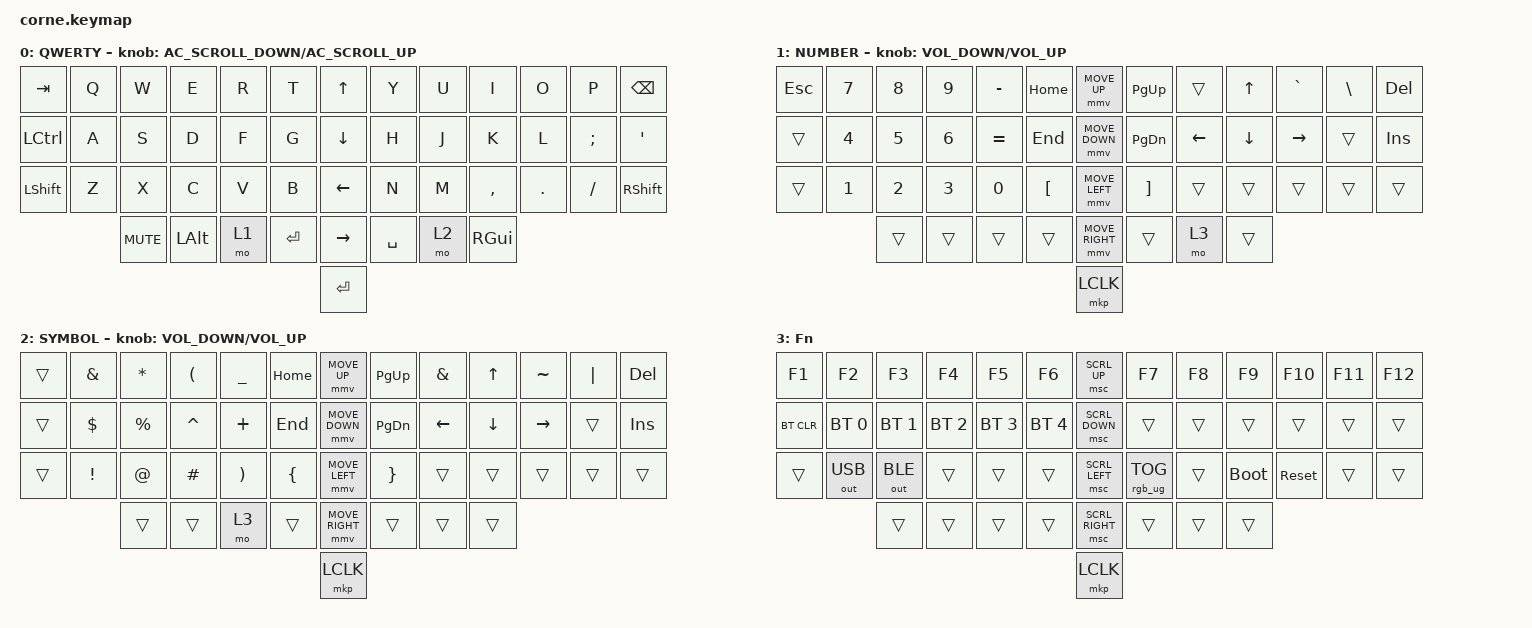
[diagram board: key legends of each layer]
#include <behaviors.dtsi>
#include <dt-bindings/zmk/bt.h>
#include <dt-bindings/zmk/keys.h>
#include <dt-bindings/zmk/mouse.h>
#include <dt-bindings/zmk/outputs.h>
#include <dt-bindings/zmk/rgb.h>

#define ZMK_MOUSE_DEFAULT_MOVE_VAL 2500  // 600
#define ZMK_MOUSE_DEFAULT_SCRL_VAL 20    // 10
#define U_MS_U &mmv MOVE_UP
#define U_MS_D &mmv MOVE_DOWN
#define U_MS_L &mmv MOVE_LEFT
#define U_MS_R &mmv MOVE_RIGHT
#define U_WH_U &msc SCRL_UP
#define U_WH_D &msc SCRL_DOWN
#define U_WH_L &msc SCRL_LEFT
#define U_WH_R &msc SCRL_RIGHT

/ {
    behaviors {
        td0: td0 {
            compatible = "zmk,behavior-tap-dance";
            label = "TD0";
            #binding-cells = <0>;
            bindings = <&kp LEFT_SHIFT>, <&kp CAPS>;
        };

        mmv {
            acceleration-exponent = <1>;      // 1
            time-to-max-speed-ms = <300>;    // 40
            delay-ms = <0>;                   // 0
        };

        msc {
            acceleration-exponent = <0>;      // 0
            time-to-max-speed-ms = <40>;      // 500
            delay-ms = <0>;                   // 10
        };
    };

    keymap {
        compatible = "zmk,keymap";

        default_layer {
            display-name = "QWERTY";

            // --------------------------------------------------------------------------------
            // |  TAB |  Q  |  W  |  E  |  R  |  T  |   |  Y  |  U   |  I  |  O  |  P  | BKSP |
            // | CTRL |  A  |  S  |  D  |  F  |  G  |   |  H  |  J   |  K  |  L  |  ;  |  '   | 
            // | SHFT |  Z  |  X  |  C  |  V  |  B  |   |  N  |  M   |  ,  |  .  |  /  | ESC  |
            //                    | GUI | LWR | SPC |   | ENT | RSE  | ALT |

            bindings = <
&kp TAB         &kp Q  &kp W       &kp E     &kp R  &kp T        &kp UP_ARROW     &kp Y      &kp U  &kp I      &kp O    &kp P     &kp BSPC
&kp LCTRL       &kp A  &kp S       &kp D     &kp F  &kp G        &kp DOWN_ARROW   &kp H      &kp J  &kp K      &kp L    &kp SEMI  &kp SQT
&kp LEFT_SHIFT  &kp Z  &kp X       &kp C     &kp V  &kp B        &kp LEFT_ARROW   &kp N      &kp M  &kp COMMA  &kp DOT  &kp FSLH  &kp RIGHT_SHIFT
                       &kp C_MUTE  &kp LALT  &mo 1  &kp ENTER    &kp RIGHT_ARROW  &kp SPACE  &mo 2  &kp RGUI
                                                                 &kp ENTER
            >;

            label = "QWERTY";
            sensor-bindings = <&inc_dec_kp C_AC_SCROLL_DOWN C_AC_SCROLL_UP>;
        };

        lower_layer {
            display-name = "NUMBER";

            // -----------------------------------------------------------------------------------------
            // |  TAB |  1  |  2  |  3  |  4  |  5  |   |  6  |  7  |  8  |  9  |  0  | BKSP |
            // | BTCLR| BT1 | BT2 | BT3 | BT4 | BT5 |   | LFT | DWN |  UP | RGT |     |      |
            // | SHFT |     |     |     |     |     |   |     |     |     |     |     |      |
            //                    | GUI |     | SPC |   | ENT |     | ALT |

            bindings = <
&kp ESC  &kp N7  &kp N8  &kp N9  &kp MINUS  &kp HOME    &mmv MOVE_UP     &kp PG_UP  &trans    &kp UP    &kp GRAVE  &kp BSLH  &kp DEL
&trans   &kp N4  &kp N5  &kp N6  &kp EQUAL  &kp END     &mmv MOVE_DOWN   &kp PG_DN  &kp LEFT  &kp DOWN  &kp RIGHT  &trans    &kp INS
&trans   &kp N1  &kp N2  &kp N3  &kp N0     &kp LBKT    &mmv MOVE_LEFT   &kp RBKT   &trans    &trans    &trans     &trans    &trans
                 &trans  &trans  &trans     &trans      &mmv MOVE_RIGHT  &trans     &mo 3     &trans
                                                        &mkp LCLK
            >;

            label = "NUMBER";
            sensor-bindings = <&inc_dec_kp C_VOLUME_DOWN C_VOLUME_UP>;
        };

        raise_layer {
            display-name = "SYMBOL";

            // -----------------------------------------------------------------------------------------
            // |  TAB |  !  |  @  |  #  |  $  |  %  |   |  ^  |  &  |  *  |  (  |  )  | BKSP |
            // | CTRL |     |     |     |     |     |   |  -  |  =  |  [  |  ]  |  \  |  `   |
            // | SHFT |     |     |     |     |     |   |  _  |  +  |  {  |  }  | "|" |  ~   |
            //                    | GUI |     | SPC |   | ENT |     | ALT |

            bindings = <
&trans  &kp AMPS    &kp ASTRK    &kp LPAR   &kp UNDERSCORE  &kp HOME    &mmv MOVE_UP     &kp PG_UP  &kp AMPS  &kp UP    &kp TILDE  &kp PIPE  &kp DEL
&trans  &kp DOLLAR  &kp PERCENT  &kp CARET  &kp PLUS        &kp END     &mmv MOVE_DOWN   &kp PG_DN  &kp LEFT  &kp DOWN  &kp RIGHT  &trans    &kp INS
&trans  &kp EXCL    &kp AT       &kp HASH   &kp RPAR        &kp LBRC    &mmv MOVE_LEFT   &kp RBRC   &trans    &trans    &trans     &trans    &trans
                    &trans       &trans     &mo 3           &trans      &mmv MOVE_RIGHT  &trans     &trans    &trans
                                                                        &mkp LCLK
            >;

            sensor-bindings = <&inc_dec_kp C_VOLUME_DOWN C_VOLUME_UP>;
        };

        layer_3 {
            display-name = "Fn";
            bindings = <
&kp F1      &kp F2        &kp F3        &kp F4        &kp F5        &kp F6          &msc SCRL_UP     &kp F7           &kp F8  &kp F9       &kp F10     &kp F11  &kp F12
&bt BT_CLR  &bt BT_SEL 0  &bt BT_SEL 1  &bt BT_SEL 2  &bt BT_SEL 3  &bt BT_SEL 4    &msc SCRL_DOWN   &trans           &trans  &trans       &trans      &trans   &trans
&trans      &out OUT_USB  &out OUT_BLE  &trans        &trans        &trans          &msc SCRL_LEFT   &rgb_ug RGB_TOG  &trans  &bootloader  &sys_reset  &trans   &trans
                          &trans        &trans        &trans        &trans          &msc SCRL_RIGHT  &trans           &trans  &trans
                                                                                    &mkp LCLK
            >;
        };
    };
};
